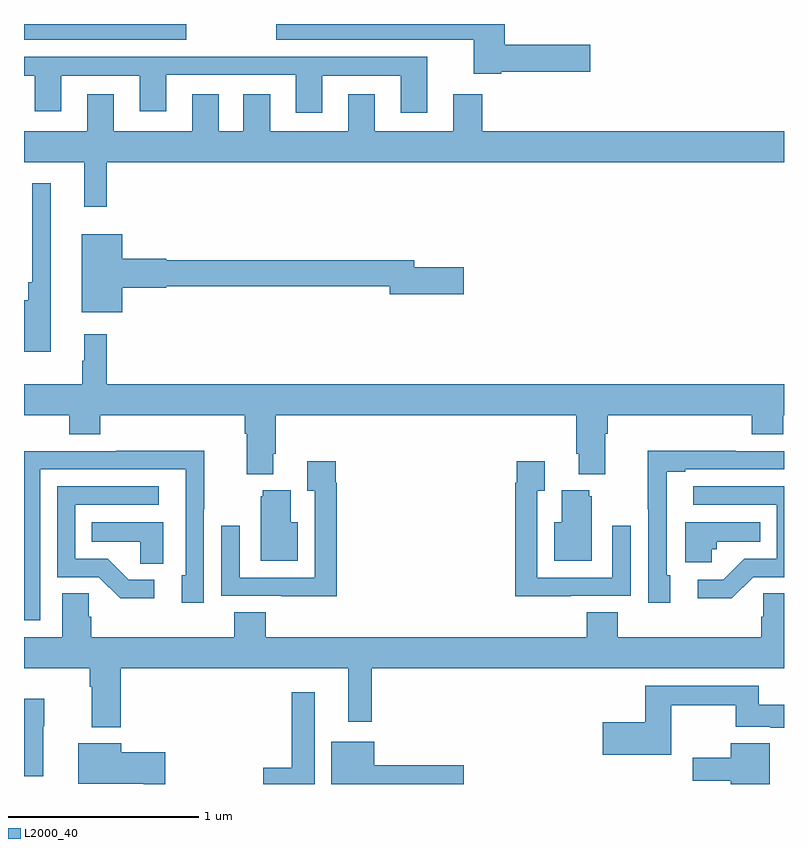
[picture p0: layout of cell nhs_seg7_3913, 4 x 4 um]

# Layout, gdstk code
import gdstk
lib = gdstk.Library(unit=1e-6, precision=1e-09)
def P(c, l, *ps):  # polygons
    for p in ps: c.add(gdstk.Polygon(p, *l))
L2000_40 = (2000, 40)

nhs_seg7_3913 = lib.new_cell('nhs_seg7_3913')
P(nhs_seg7_3913, L2000_40, [(361.512,1011.748),(361.981,1011.748),(361.981,1011.89),(361.529,1011.89),(361.529,1012),(360.327,1012),(360.327,1011.918),(361.367,1011.918),(361.367,1011.737),(361.512,1011.737)],
  [(359.854,1012),(359,1012),(359,1011.918),(359.476,1011.918),(359.476,1011.917),(359.854,1011.917)],
  [(360.571,1011.727),(360.983,1011.727),(360.983,1011.534),(361.123,1011.534),(361.123,1011.828),(359,1011.828),(359,1011.727),(359.057,1011.727),(359.057,1011.54),(359.197,1011.54),(359.197,1011.727),(359.609,1011.727),(359.609,1011.54),(359.749,1011.54),(359.749,1011.732),(360.431,1011.732),(360.431,1011.534),(360.571,1011.534)],
  [(359.435,1011.272),(363,1011.272),(363,1011.436),(361.412,1011.436),(361.412,1011.631),(361.259,1011.631),(361.259,1011.436),(360.847,1011.436),(360.847,1011.631),(360.707,1011.631),(360.707,1011.436),(360.295,1011.436),(360.295,1011.631),(360.155,1011.631),(360.155,1011.436),(360.025,1011.436),(360.025,1011.631),(359.885,1011.631),(359.885,1011.436),(359.473,1011.436),(359.473,1011.631),(359.333,1011.631),(359.333,1011.436),(359,1011.436),(359,1011.272),(359.318,1011.272),(359.318,1011.039),(359.435,1011.039)],
  [(359.14,1011.163),(359.043,1011.163),(359.043,1010.641),(359.023,1010.641),(359.023,1010.545),(359,1010.545),(359,1010.276),(359.14,1010.276)],
  [(359.518,1010.612),(359.748,1010.612),(359.748,1010.62),(360.926,1010.62),(360.926,1010.578),(361.315,1010.578),(361.315,1010.72),(361.054,1010.72),(361.054,1010.756),(359.748,1010.756),(359.748,1010.764),(359.518,1010.764),(359.518,1010.893),(359.303,1010.893),(359.303,1010.483),(359.518,1010.483)],
  [(359.435,1010.368),(359.318,1010.368),(359.318,1010.228),(359.307,1010.228),(359.307,1010.104),(359,1010.104),(359,1009.94),(359.237,1009.94),(359.237,1009.841),(359.402,1009.841),(359.402,1009.94),(360.161,1009.94),(360.161,1009.844),(360.173,1009.844),(360.173,1009.631),(360.313,1009.631),(360.313,1009.738),(360.326,1009.738),(360.326,1009.94),(361.907,1009.94),(361.907,1009.738),(361.919,1009.738),(361.919,1009.631),(362.059,1009.631),(362.059,1009.844),(362.072,1009.844),(362.072,1009.94),(362.831,1009.94),(362.831,1009.841),(362.996,1009.841),(362.996,1009.94),(363,1009.94),(363,1010.104),(359.435,1010.104)],
  [(362.401,1009.098),(362.382,1009.098),(362.382,1009.45),(362.383,1009.45),(362.383,1009.644),(362.479,1009.644),(362.479,1009.656),(363,1009.656),(363,1009.752),(362.747,1009.752),(362.747,1009.754),(362.284,1009.754),(362.284,1009.447),(362.286,1009.447),(362.286,1008.954),(362.401,1008.954)],
  [(359.085,1009.656),(359.85,1009.656),(359.85,1009.098),(359.831,1009.098),(359.831,1008.954),(359.946,1008.954),(359.946,1009.447),(359.949,1009.447),(359.949,1009.754),(359.485,1009.754),(359.485,1009.752),(359,1009.752),(359,1008.861),(359.085,1008.861)],
  [(361.877,1008.99),(362.193,1008.99),(362.193,1009.36),(362.097,1009.36),(362.097,1009.086),(361.701,1009.086),(361.701,1009.543),(361.741,1009.543),(361.741,1009.699),(361.593,1009.699),(361.593,1009.586),(361.585,1009.586),(361.585,1008.989),(361.877,1008.989)],
  [(360.647,1009.586),(360.64,1009.586),(360.64,1009.699),(360.491,1009.699),(360.491,1009.543),(360.531,1009.543),(360.531,1009.086),(360.135,1009.086),(360.135,1009.36),(360.039,1009.36),(360.039,1008.99),(360.355,1008.99),(360.355,1008.989),(360.647,1008.989)],
  [(362.838,1009.089),(363,1009.089),(363,1009.566),(362.523,1009.566),(362.523,1009.47),(362.961,1009.47),(362.961,1009.185),(362.792,1009.185),(362.681,1009.074),(362.547,1009.074),(362.547,1008.977),(362.725,1008.977)],
  [(359.686,1009.074),(359.551,1009.074),(359.44,1009.185),(359.271,1009.185),(359.271,1009.47),(359.71,1009.47),(359.71,1009.566),(359.175,1009.566),(359.175,1009.089),(359.394,1009.089),(359.507,1008.977),(359.686,1008.977)],
  [(360.442,1009.378),(360.403,1009.378),(360.403,1009.546),(360.257,1009.546),(360.257,1009.515),(360.245,1009.515),(360.245,1009.175),(360.442,1009.175)],
  [(361.987,1009.515),(361.976,1009.515),(361.976,1009.546),(361.829,1009.546),(361.829,1009.378),(361.79,1009.378),(361.79,1009.175),(361.987,1009.175)],
  [(362.619,1009.236),(362.646,1009.236),(362.646,1009.274),(362.876,1009.274),(362.876,1009.378),(362.48,1009.378),(362.48,1009.166),(362.619,1009.166)],
  [(359.734,1009.378),(359.356,1009.378),(359.356,1009.274),(359.613,1009.274),(359.613,1009.159),(359.734,1009.159)],
  [(359.51,1008.608),(360.707,1008.608),(360.707,1008.327),(360.829,1008.327),(360.829,1008.608),(363,1008.608),(363,1009.004),(362.892,1009.004),(362.892,1008.881),(362.879,1008.881),(362.879,1008.772),(362.126,1008.772),(362.126,1008.905),(361.961,1008.905),(361.961,1008.772),(360.272,1008.772),(360.272,1008.905),(360.107,1008.905),(360.107,1008.772),(359.354,1008.772),(359.354,1008.881),(359.34,1008.881),(359.34,1009.004),(359.201,1009.004),(359.201,1008.772),(359,1008.772),(359,1008.608),(359.345,1008.608),(359.345,1008.512),(359.357,1008.512),(359.357,1008.299),(359.51,1008.299)],
  [(362.406,1008.415),(362.745,1008.415),(362.745,1008.302),(362.928,1008.302),(362.928,1008.296),(363,1008.296),(363,1008.418),(362.866,1008.418),(362.866,1008.516),(362.269,1008.516),(362.269,1008.325),(362.046,1008.325),(362.046,1008.155),(362.406,1008.155)],
  [(360.529,1008.484),(360.408,1008.484),(360.408,1008.085),(360.26,1008.085),(360.26,1008),(360.529,1008)],
  [(359.101,1008.303),(359.107,1008.303),(359.107,1008.448),(359,1008.448),(359,1008.042),(359.101,1008.042)],
  [(361.315,1008.098),(360.844,1008.098),(360.844,1008.223),(360.617,1008.223),(360.617,1008),(361.315,1008)],
  [(362.926,1008.214),(362.72,1008.214),(362.72,1008.139),(362.52,1008.139),(362.52,1008.017),(362.72,1008.017),(362.72,1008),(362.926,1008)],
  [(359.743,1008.168),(359.512,1008.168),(359.512,1008.214),(359.285,1008.214),(359.285,1008.002),(359.63,1008.002),(359.63,1008),(359.743,1008)])

lib.write_gds('nhs_seg7_3913.gds')
